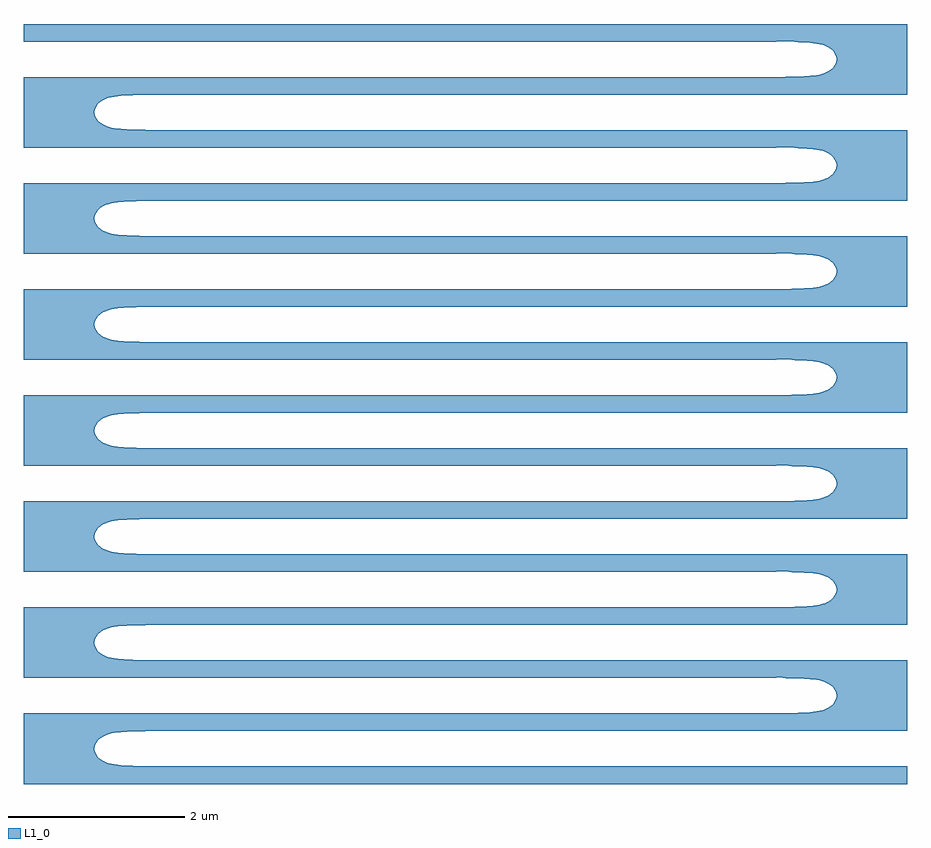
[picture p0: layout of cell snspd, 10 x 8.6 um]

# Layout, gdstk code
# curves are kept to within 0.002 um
from math import pi, radians
import gdstk
lib = gdstk.Library(unit=1e-6, precision=1e-09)
def R(c, l, rs):  # rectangles x0, y0, x1, y1
    for r in rs: c.add(gdstk.rectangle(r[:2], r[2:], *l))
def P(c, l, *ps):  # polygons
    for p in ps: c.add(gdstk.Polygon(p, *l))
L1_0 = (1, 0)

compass_layer1__0_size5p = lib.new_cell('compass_layer1__0_size5p0__0p2')
R(compass_layer1__0_size5p, L1_0, [(-2.5,-0.1,2.5,0.1)])

optimal_hairpin_length5_ = lib.new_cell('optimal_hairpin_length5_32e8bce8')
P(optimal_hairpin_length5_, L1_0, [(-0.59,-0.2),(-0.45,-0.199),(-0.24,-0.191),(-0.136,-0.179),(-0.068,-0.163),(-0.035,-0.152),(-0.003,-0.137),(0.027,-0.118),(0.053,-0.095),(0.073,-0.066),(0.087,-0.034),(0.092,0),(0.892,0),(0.892,-0.4),(-4.108,-0.4),(-4.108,-0.2)],
  [(-0.59,0.2),(-0.45,0.199),(-0.24,0.191),(-0.136,0.179),(-0.068,0.163),(-0.035,0.152),(-0.003,0.137),(0.027,0.118),(0.053,0.095),(0.073,0.066),(0.087,0.034),(0.092,0),(0.892,0),(0.892,0.4),(-4.108,0.4),(-4.108,0.2)])

snspd = lib.new_cell('snspd')
snspd.add(gdstk.Reference(compass_layer1__0_size5p, (0,0)))
snspd.add(gdstk.Reference(optimal_hairpin_length5_, (6.608,-0.3)))
snspd.add(gdstk.Reference(optimal_hairpin_length5_, (-1.608,-0.9), rotation=pi))
snspd.add(gdstk.Reference(optimal_hairpin_length5_, (6.608,-1.5)))
snspd.add(gdstk.Reference(optimal_hairpin_length5_, (-1.608,-2.1), rotation=pi))
snspd.add(gdstk.Reference(optimal_hairpin_length5_, (6.608,-2.7)))
snspd.add(gdstk.Reference(optimal_hairpin_length5_, (-1.608,-3.3), rotation=pi))
snspd.add(gdstk.Reference(optimal_hairpin_length5_, (6.608,-3.9)))
snspd.add(gdstk.Reference(optimal_hairpin_length5_, (-1.608,-4.5), rotation=pi))
snspd.add(gdstk.Reference(optimal_hairpin_length5_, (6.608,-5.1)))
snspd.add(gdstk.Reference(optimal_hairpin_length5_, (-1.608,-5.7), rotation=pi))
snspd.add(gdstk.Reference(optimal_hairpin_length5_, (6.608,-6.3)))
snspd.add(gdstk.Reference(optimal_hairpin_length5_, (-1.608,-6.9), rotation=pi))
snspd.add(gdstk.Reference(optimal_hairpin_length5_, (6.608,-7.5)))
snspd.add(gdstk.Reference(optimal_hairpin_length5_, (-1.608,-8.1), rotation=pi))
snspd.add(gdstk.Reference(compass_layer1__0_size5p, (5,-8.4), rotation=pi))

lib.write_gds('snspd.gds')
